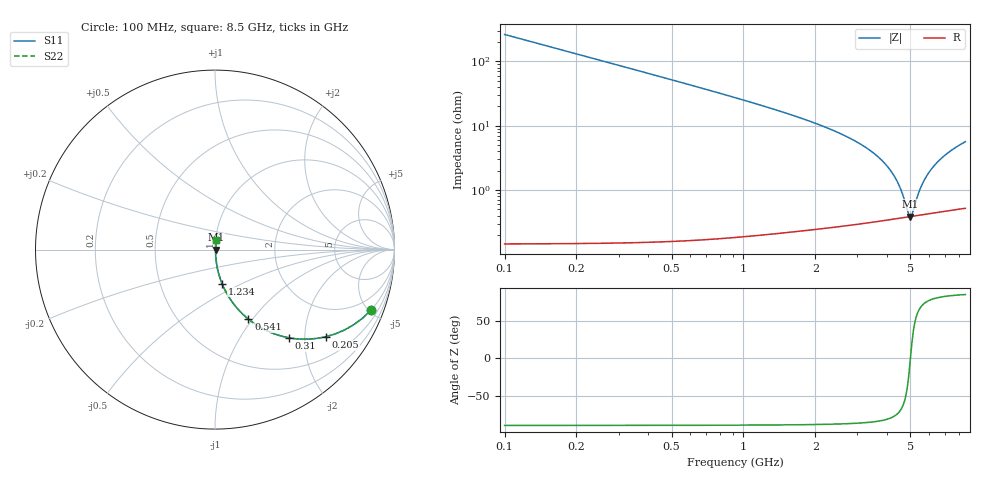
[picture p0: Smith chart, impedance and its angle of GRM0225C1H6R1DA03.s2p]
!Murata Part Number: GRM0225C1H6R1DA03
!These Parameters are Measured in Series Mode Connection
!Data Generated on Mar 30, 2021
!  o--ll--o
!Port1  Port2
!  o------o
!Operation Temp=25[degC], DC Bias Voltage=0[V]
!Freq. Start=100[MHz] Stop=9[GHz] 401[Steps]
# Hz S RI R 50
!Freq.(Hz) S11(Real) S11(Imag) S21(Real) S21(Imag) S12(Real) S12(Imag) S22(Real) S22(Imag)
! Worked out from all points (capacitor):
!   401 points, 100 MHz to 8.5 GHz, reference 50 ohm
!   read as one part in series: C = 6.1 pF near 142 MHz
!   lowest |Z| = 388 mohm at 4.993 GHz (marker M1)
!   series resonance near 5.005 GHz, so ESL is about 170 pH
!   S11 on the Smith chart (normalised r, x): 100 MHz: 1.00, -5.22; 205 MHz: 1.00, -2.54; 310 MHz: 1.00, -1.68; 541 MHz: 1.00, -0.95; 1.234 GHz: 1.00, -0.40; 8.5 GHz: 1.01, +0.11
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1e8  0.8717 -0.3342  0.1283 0.3342  0.1283 0.3342  0.8717 -0.3342
1.42e8  0.771 -0.4198  0.229 0.4198  0.229 0.4198  0.771 -0.4198
2.05e8  0.6173 -0.4855  0.3827 0.4855  0.3827 0.4855  0.6173 -0.4855
3.1e8  0.4128 -0.4914  0.5872 0.4914  0.5872 0.4914  0.4128 -0.4914
4.15e8  0.2808 -0.4481  0.7192 0.4481  0.7192 0.4481  0.2808 -0.4481
5.41e8  0.1857 -0.3872  0.8143 0.3872  0.8143 0.3872  0.1857 -0.3872
8.14e8  0.0898 -0.283  0.9102 0.283  0.9102 0.283  0.0898 -0.283
1.234e9  0.0395 -0.1897  0.9605 0.1897  0.9605 0.1897  0.0395 -0.1897
1.507e9  0.026 -0.1524  0.974 0.1524  0.974 0.1524  0.026 -0.1524
2.914e9  0.00628 -0.0581  0.9937 0.0581  0.9937 0.0581  0.00628 -0.0581
3.733e9  0.0042 -0.0304  0.9958 0.0304  0.9958 0.0304  0.0042 -0.0304
4.3e9  0.00378 -0.0155  0.9962 0.0155  0.9962 0.0155  0.00378 -0.0155
4.552e9  0.00375 -0.00967  0.9962 0.00967  0.9962 0.00967  0.00375 -0.00967
4.888e9  0.00382 -0.0024  0.9962 0.0024  0.9962 0.0024  0.00382 -0.0024
4.993e9  0.00386 -0.000237  0.9961 0.000237  0.9961 0.000237  0.00386 -0.000237
5.077e9  0.0039 0.00146  0.9961 -0.00146  0.9961 -0.00146  0.0039 0.00146
5.413e9  0.00411 0.00796  0.9959 -0.00796  0.9959 -0.00796  0.00411 0.00796
5.707e9  0.00435 0.0133  0.9957 -0.0133  0.9957 -0.0133  0.00435 0.0133
5.98e9  0.00461 0.0181  0.9954 -0.0181  0.9954 -0.0181  0.00461 0.0181
6.295e9  0.00496 0.0234  0.995 -0.0234  0.995 -0.0234  0.00496 0.0234
7.114e9  0.00603 0.0361  0.994 -0.0361  0.994 -0.0361  0.00603 0.0361
8.5e9  0.00827 0.0554  0.9917 -0.0554  0.9917 -0.0554  0.00827 0.0554
